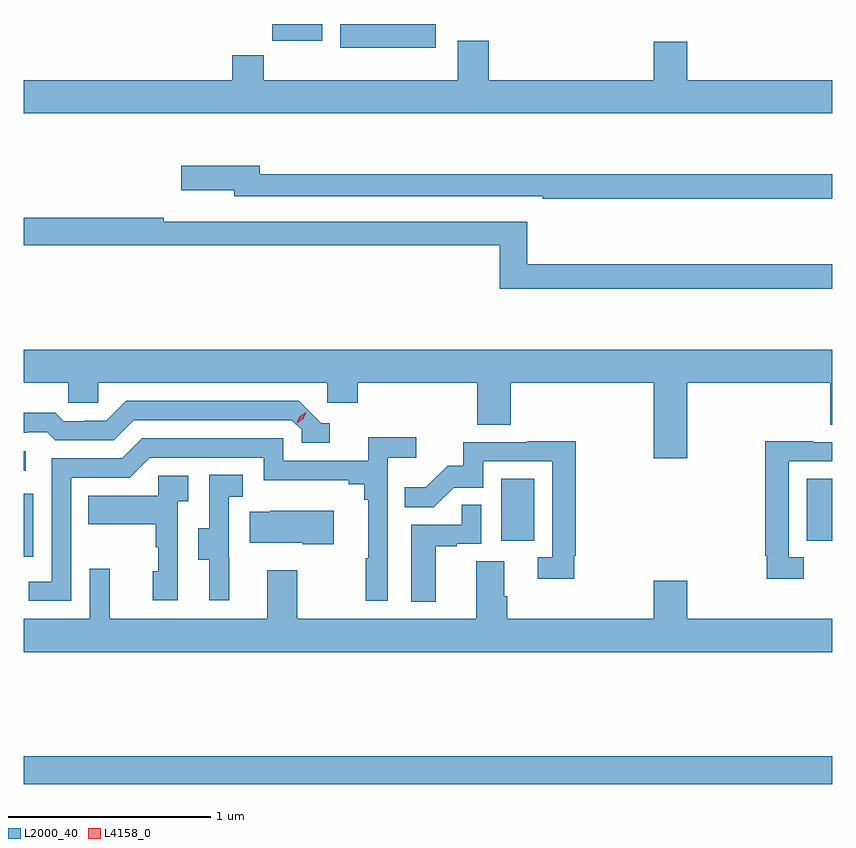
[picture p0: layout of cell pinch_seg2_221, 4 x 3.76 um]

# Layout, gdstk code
import gdstk
lib = gdstk.Library(unit=1e-6, precision=1e-09)
def R(c, l, rs):  # rectangles x0, y0, x1, y1
    for r in rs: c.add(gdstk.rectangle(r[:2], r[2:], *l))
def P(c, l, *ps):  # polygons
    for p in ps: c.add(gdstk.Polygon(p, *l))
L2000_40 = (2000, 40)
L4158_0 = (4158, 0)

pinch_seg2_221 = lib.new_cell('pinch_seg2_221')
R(pinch_seg2_221, L2000_40, [(1013.039,653.644,1017.039,653.78), (1013.039,654.768,1013.088,655.078), (1015.4,654.846,1015.564,655.153), (1016.912,654.846,1017.039,655.153), (1013.039,655.194,1013.05,655.29), (1014.605,657.284,1015.078,657.402), (1014.268,657.318,1014.517,657.402)])
P(pinch_seg2_221, L2000_40, [(1017.039,657.124),(1016.32,657.124),(1016.32,657.313),(1016.156,657.313),(1016.156,657.124),(1015.34,657.124),(1015.34,657.319),(1015.187,657.319),(1015.187,657.124),(1014.227,657.124),(1014.227,657.248),(1014.071,657.248),(1014.071,657.124),(1013.039,657.124),(1013.039,656.96),(1017.039,656.96)],
  [(1017.039,656.659),(1014.208,656.659),(1014.208,656.701),(1013.82,656.701),(1013.82,656.579),(1014.08,656.579),(1014.08,656.55),(1015.606,656.55),(1015.606,656.538),(1017.039,656.538)],
  [(1017.039,656.215),(1015.529,656.215),(1015.529,656.424),(1013.984,656.424),(1013.984,656.425),(1013.732,656.425),(1013.732,656.444),(1013.039,656.444),(1013.039,656.308),(1015.393,656.308),(1015.393,656.094),(1017.039,656.094)],
  [(1016.32,655.628),(1017.029,655.628),(1017.029,655.42),(1017.039,655.42),(1017.039,655.792),(1013.039,655.792),(1013.039,655.628),(1013.259,655.628),(1013.259,655.53),(1013.409,655.53),(1013.409,655.628),(1014.54,655.628),(1014.54,655.53),(1014.692,655.53),(1014.692,655.628),(1015.283,655.628),(1015.283,655.42),(1015.448,655.42),(1015.448,655.628),(1016.156,655.628),(1016.156,655.254),(1016.32,655.254)],
  [(1014.553,655.428),(1014.51,655.428),(1014.399,655.539),(1013.546,655.539),(1013.447,655.44),(1013.34,655.44),(1013.34,655.437),(1013.237,655.437),(1013.195,655.48),(1013.039,655.48),(1013.039,655.38),(1013.057,655.38),(1013.057,655.383),(1013.156,655.383),(1013.195,655.344),(1013.484,655.344),(1013.583,655.443),(1014.366,655.443),(1014.414,655.395),(1014.414,655.332),(1014.553,655.332)],
  [(1013.274,655.158),(1013.565,655.158),(1013.664,655.257),(1014.228,655.257),(1014.228,655.145),(1014.647,655.145),(1014.647,655.126),(1014.724,655.126),(1014.724,655.049),(1014.743,655.049),(1014.743,654.761),(1014.732,654.761),(1014.732,654.549),(1014.84,654.549),(1014.84,655.256),(1014.982,655.256),(1014.982,655.358),(1014.743,655.358),(1014.743,655.242),(1014.324,655.242),(1014.324,655.353),(1013.627,655.353),(1013.528,655.254),(1013.178,655.254),(1013.178,654.645),(1013.065,654.645),(1013.065,654.549),(1013.274,654.549)],
  [(1016.896,654.765),(1016.823,654.765),(1016.823,655.239),(1017.039,655.239),(1017.039,655.335),(1016.945,655.335),(1016.945,655.34),(1016.707,655.34),(1016.707,654.772),(1016.715,654.772),(1016.715,654.66),(1016.896,654.66)],
  [(1015.762,654.772),(1015.769,654.772),(1015.769,655.34),(1015.531,655.34),(1015.531,655.335),(1015.213,655.335),(1015.213,655.218),(1015.136,655.218),(1015.029,655.111),(1014.925,655.111),(1014.925,655.012),(1015.068,655.012),(1015.166,655.11),(1015.311,655.11),(1015.311,655.239),(1015.653,655.239),(1015.653,654.765),(1015.581,654.765),(1015.581,654.66),(1015.762,654.66)],
  [(1014.056,654.765),(1014.054,654.765),(1014.054,655.065),(1014.124,655.065),(1014.124,655.172),(1013.958,655.172),(1013.958,654.909),(1013.903,654.909),(1013.903,654.754),(1013.957,654.754),(1013.957,654.552),(1014.056,654.552)],
  [(1013.802,655.043),(1013.854,655.043),(1013.854,655.167),(1013.706,655.167),(1013.706,655.069),(1013.359,655.069),(1013.359,654.929),(1013.694,654.929),(1013.694,654.815),(1013.704,654.815),(1013.704,654.696),(1013.678,654.696),(1013.678,654.552),(1013.802,654.552)],
  [(1015.078,654.819),(1015.181,654.819),(1015.181,654.831),(1015.302,654.831),(1015.302,655.025),(1015.207,655.025),(1015.207,654.927),(1014.956,654.927),(1014.956,654.545),(1015.078,654.545)],
  [(1014.574,654.994),(1014.259,654.994),(1014.259,654.991),(1014.157,654.991),(1014.157,654.836),(1014.419,654.836),(1014.419,654.829),(1014.574,654.829)],
  [(1017.039,654.46),(1016.32,654.46),(1016.32,654.649),(1016.156,654.649),(1016.156,654.46),(1015.43,654.46),(1015.43,654.572),(1015.417,654.572),(1015.417,654.746),(1015.277,654.746),(1015.277,654.46),(1014.393,654.46),(1014.393,654.7),(1014.245,654.7),(1014.245,654.46),(1013.465,654.46),(1013.465,654.709),(1013.367,654.709),(1013.367,654.46),(1013.039,654.46),(1013.039,654.296),(1017.039,654.296)])
P(pinch_seg2_221, L4158_0, [(1014.39,655.429),(1014.39,655.429),(1014.406,655.462),(1014.436,655.481),(1014.437,655.481),(1014.437,655.481),(1014.421,655.449),(1014.39,655.429)])

lib.write_gds('pinch_seg2_221.gds')
